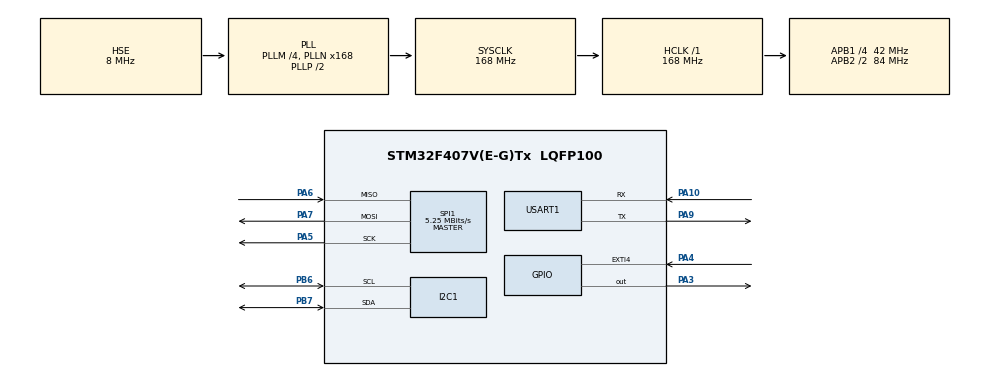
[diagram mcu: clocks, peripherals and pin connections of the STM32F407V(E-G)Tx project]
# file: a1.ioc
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Mcu.Family=STM32F4
Mcu.Name=STM32F407V(E-G)Tx
Mcu.Package=LQFP100
NVIC.PriorityGroup=NVIC_PRIORITYGROUP_4
PA10.Mode=Asynchronous
PA10.Signal=USART1_RX
PA3.Signal=GPIO_Output
PA4.Signal=GPXTI4
PA5.Mode=Full_Duplex_Master
PA5.Signal=SPI1_SCK
PA6.Mode=Full_Duplex_Master
PA6.Signal=SPI1_MISO
PA7.Mode=Full_Duplex_Master
PA7.Signal=SPI1_MOSI
PA9.Mode=Asynchronous
PA9.Signal=USART1_TX
PB6.Mode=I2C
PB6.Signal=I2C1_SCL
PB7.Mode=I2C
PB7.Signal=I2C1_SDA
PH0-OSC_IN.Mode=HSE-External-Oscillator
PH0-OSC_IN.Signal=RCC_OSC_IN
PH1-OSC_OUT.Mode=HSE-External-Oscillator
PH1-OSC_OUT.Signal=RCC_OSC_OUT
ProjectManager.HeapSize=0x200
ProjectManager.StackSize=0x400
ProjectManager.TargetToolchain=MDK-ARM V5.27
RCC.48MHZClocksFreq_Value=84000000
RCC.AHBFreq_Value=168000000
RCC.APB1CLKDivider=RCC_HCLK_DIV4
RCC.APB1Freq_Value=42000000
RCC.APB1TimFreq_Value=84000000
RCC.APB2CLKDivider=RCC_HCLK_DIV2
RCC.APB2Freq_Value=84000000
RCC.APB2TimFreq_Value=168000000
RCC.CortexFreq_Value=168000000
RCC.HCLKFreq_Value=168000000
RCC.HSE_VALUE=8000000
RCC.HSI_VALUE=16000000
RCC.LSE_VALUE=32768
RCC.PLLM=4
RCC.PLLN=168
RCC.PLLSourceVirtual=RCC_PLLSOURCE_HSE
RCC.SYSCLKFreq_VALUE=168000000
RCC.SYSCLKSource=RCC_SYSCLKSOURCE_PLLCLK
RCC.VCOOutputFreq_Value=336000000
SPI1.BaudRatePrescaler=SPI_BAUDRATEPRESCALER_16
SPI1.CalculateBaudRate=5.25 MBits/s
SPI1.Direction=SPI_DIRECTION_2LINES
SPI1.Mode=SPI_MODE_MASTER
SPI1.VirtualType=VM_MASTER
USART1.VirtualMode=VM_ASYNC
board=custom

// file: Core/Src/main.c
/* USER CODE BEGIN Header */
/**
  ******************************************************************************
  * @file           : main.c
  * @brief          : Main program body
  ******************************************************************************
  * @attention
  *
  * <h2><center>&copy; Copyright (c) 2021 STMicroelectronics.
  * All rights reserved.</center></h2>
  *
  * This software component is licensed by ST under BSD 3-Clause license,
  * the "License"; You may not use this file except in compliance with the
  * License. You may obtain a copy of the License at:
  *                        opensource.org/licenses/BSD-3-Clause
  *
  ******************************************************************************
  */
/* USER CODE END Header */
#include "main.h"
#include "i2c.h"
#include "spi.h"
#include "usart.h"
#include "gpio.h"

/* USER CODE BEGIN Includes */
#include "CLRC663_Interface.h"
#include <phbalReg.h>
#include <phhalHw.h>
#include <phpalSli15693.h>
#include <phalSli.h>
#include "phalI15693.h"
#include "phalSli.h"
#include <RegCtl_SpiHw.h>
#include "phkeyStore.h"
#include "phalI15693_Sw.h"
#include "stdio.h"
#include "aes.h"
/* USER CODE END Includes */

/* USER CODE BEGIN PD */
typedef uint8_t  u8;

#define  CHECK_SUCCESS(status)   {223;}//if ((status) != PH_ERR_SUCCESS) {printf("fuck\n");}else{printf("wu\n");}}

/* USER CODE END PD */

void SystemClock_Config(void);

/* USER CODE BEGIN 0 */

u8  UID_Table[8];

u8  len;
phhalHw_Rc663_DataParams_t      halReader;
phpalSli15693_Sw_DataParams_t   palSli;
phalI15693_Sw_DataParams_t      al15693;

	//通用变量
	uint8_t bIndex;
	phStatus_t status;
  uint8_t bHalBufferReader[256];

	//PAL层使用变量
	uint8_t  bOption, bFlags, bAfi;
	uint8_t  pMask[PHPAL_SLI15693_UID_LENGTH], bMaskLength;
	uint8_t  bDsfid, pUid[PHPAL_SLI15693_UID_LENGTH];
	uint8_t  bRxLength, bMoreCardsAvaliable;
	uint8_t  bBlockNo;
	uint16_t wNoOfBlocks;
	uint8_t  bUidLength;
	//uint8_t  pData[PHAL_SLI_BLOCK_SIZE * 28];
	uint8_t  pData[PHAL_SLI_BLOCK_SIZE * 1];
	uint16_t wDataLength=12;

	phbalReg_Stub_DataParams_t balReader;
	phKeyStore_Rc663_DataParams_t Rc663keyStore;

  //AL层使用的变量
	uint8_t pOriginalData[PHAL_SLI_BLOCK_SIZE];
	uint8_t ** ppData = (uint8_t**)&pData;

//u8 Key_Num;

	uint8_t Write_date=38;
	uint8_t Wr_t[12]={37,38,39,35,37,38,39,35,37,38,37,38};

	void *pHal;

int fputc(int ch,FILE *f)
{
    uint8_t temp[1]={ch};
    HAL_UART_Transmit(&huart1,temp,1,2);
		return 0;
}
/* USER CODE END 0 */

int main(void)
{
  /* USER CODE BEGIN 1 */
uint8_t * fuck;
	unsigned short f5;
  /* USER CODE END 1 */

  /* MCU Configuration--------------------------------------------------------*/

  /* Reset of all peripherals, Initializes the Flash interface and the Systick. */
  HAL_Init();

  /* Configure the system clock */
  SystemClock_Config();

  /* Initialize all configured peripherals */
  MX_GPIO_Init();
  MX_SPI1_Init();
  MX_USART1_UART_Init();
  MX_I2C1_Init();
  /* USER CODE BEGIN 2 */
	  u8 ks[16]={4,5,2,5,0,1,1,9,9,7,0,3,2,2,7,4};
		u8 lgh[16]="onedayigotoscho";
   AesKey pkey;
   aes_initKey(&pkey, ks, 16);
		while(1){

			 u8 is[16];
			 u8 os[16];

			 memset(is, 0, sizeof(is));
			 memset(os, 0, sizeof(os));

			 aes_encrypt(&pkey, lgh, os);

			for(int k=0;k<16;k++){
				printf("%X",os[k]);
			}

			printf("\n");

			 aes_decrypt(&pkey, os, is);

				for(int k=0;k<16;k++){
				printf("%c",is[k]);
			}

			printf("\n");
			while(1);
			HAL_Delay(1000);

		}

while(1);

	status=phbalReg_Stub_Init(&balReader, sizeof(phbalReg_Stub_DataParams_t));
	 CHECK_SUCCESS(status)
	HAL_Delay(40);
	status = phhalHw_Rc663_Init(
															&halReader,
															sizeof(phhalHw_Rc663_DataParams_t),
															&balReader,
															NULL,
															bHalBufferReader,
															sizeof(bHalBufferReader),
															bHalBufferReader,
															sizeof(bHalBufferReader));

 CHECK_SUCCESS(status)
	halReader.bBalConnectionType = PHHAL_HW_BAL_CONNECTION_SPI;
	pHal = &halReader;

	status = phpalSli15693_Sw_Init(&palSli, sizeof(palSli), &halReader);
			 CHECK_SUCCESS(status)
		status = phalI15693_Sw_Init(&al15693, sizeof(al15693), &palSli);
			 CHECK_SUCCESS(status)
		bOption = PHPAL_SLI15693_ACTIVATE_ADDRESSED;
	bFlags =  PHPAL_SLI15693_FLAG_NBSLOTS | PHPAL_SLI15693_FLAG_DATA_RATE;
	bAfi = 0xff;
	bMaskLength = 0;
	status = phhalHw_FieldOn(&halReader);
	 CHECK_SUCCESS(status)
 status = phhalHw_ApplyProtocolSettings(&halReader, PHHAL_HW_CARDTYPE_ISO15693);
	 CHECK_SUCCESS(status)
  /* USER CODE END 2 */

  /* Infinite loop */
  /* USER CODE BEGIN WHILE */
  while (1)
  {
		bOption = PHPAL_SLI15693_ACTIVATE_ADDRESSED;
			bFlags =  PHPAL_SLI15693_FLAG_NBSLOTS | PHPAL_SLI15693_FLAG_DATA_RATE;
			bAfi = 0xFF; //设置为0xff，支持所有应用
			bMaskLength = 0;
		  //status = phhalHw_FieldReset(&halReader);     //打开场
		  status = phhalHw_FieldOn(&halReader);
		 CHECK_SUCCESS(status)
		 status = phhalHw_ApplyProtocolSettings(&halReader, PHHAL_HW_CARDTYPE_ISO15693);
		 CHECK_SUCCESS(status)

		  status = phpalSli15693_ActivateCard(&palSli, bOption, bFlags,
                                         bAfi, pMask, bMaskLength,
                                         &bDsfid, pUid, &bMoreCardsAvaliable);
		 CHECK_SUCCESS(status)
			if(PH_ERR_SUCCESS == status)//读卡成功
			{
				HAL_Delay(300);
				//LED1=1;
				status = phpalSli15693_GetSerialNo(&palSli, pUid, &bRxLength);
				//BEEP_TS_Small();
				for(len=0;len<8;len++)
				{
					 UID_Table[len]=pUid[len];   //保存UID
//					printf("%d ",pUid[len]);
				}
				printf("\n");
				if(bRxLength == PHPAL_SLI15693_UID_LENGTH)
				{
						memcpy(pMask, pUid, PHPAL_SLI15693_UID_LENGTH);
						bMaskLength = PHPAL_SLI15693_UID_LENGTH * 8;
				}
				bFlags = 0x32;
				bAfi = 0x00;
				//bBlockNo = 0;
				wNoOfBlocks = 1;
				bOption = PHAL_I15693_OPTION_DEFAULT;//设置为默认，即选项位清除
				//bBlockNo = 0x7f;   //块号，即读取地址
				bBlockNo = 0x10;
				Wr_t[0]=30;
				Wr_t[1]=31;
				Wr_t[2]=32;
				Wr_t[3]=33;

				status	=	phalI15693_WriteSingleBlock(&al15693,bOption, bBlockNo,Wr_t, 4);//往单个块里写入数据
					HAL_Delay(200);
				f5=70;
					bBlockNo =0x10;
				for(int k=0;k<256;k++){

						phalI15693_ReadSingleBlock(&al15693,bOption, k,&fuck, &f5);
							HAL_Delay(200);
					if(f5!=0){
						printf("%d\n",k);

					}
				}

						HAL_Delay(200);
//				printf("%d\n",f5);
//				for(int k=0;k<f5;k++){
//					printf("%d hh ",fuck[k]);
//				}
				printf("\n");

				if(PH_ERR_SUCCESS == status)//读取成功
				{
					HAL_Delay(20);
				}

      }
						HAL_Delay(200);
    /* USER CODE END WHILE */

  }
}

void SystemClock_Config(void)
{
  RCC_OscInitTypeDef RCC_OscInitStruct = {0};
  RCC_ClkInitTypeDef RCC_ClkInitStruct = {0};

  /** Configure the main internal regulator output voltage
  */
  __HAL_RCC_PWR_CLK_ENABLE();
  __HAL_PWR_VOLTAGESCALING_CONFIG(PWR_REGULATOR_VOLTAGE_SCALE1);
  /** Initializes the RCC Oscillators according to the specified parameters
  * in the RCC_OscInitTypeDef structure.
  */
  RCC_OscInitStruct.OscillatorType = RCC_OSCILLATORTYPE_HSE;
  RCC_OscInitStruct.HSEState = RCC_HSE_ON;
  RCC_OscInitStruct.PLL.PLLState = RCC_PLL_ON;
  RCC_OscInitStruct.PLL.PLLSource = RCC_PLLSOURCE_HSE;
  RCC_OscInitStruct.PLL.PLLM = 4;
  RCC_OscInitStruct.PLL.PLLN = 168;
  RCC_OscInitStruct.PLL.PLLP = RCC_PLLP_DIV2;
  RCC_OscInitStruct.PLL.PLLQ = 4;
  if (HAL_RCC_OscConfig(&RCC_OscInitStruct) != HAL_OK)
  {
    Error_Handler();
  }
  /** Initializes the CPU, AHB and APB buses clocks
  */
  RCC_ClkInitStruct.ClockType = RCC_CLOCKTYPE_HCLK|RCC_CLOCKTYPE_SYSCLK
                              |RCC_CLOCKTYPE_PCLK1|RCC_CLOCKTYPE_PCLK2;
  RCC_ClkInitStruct.SYSCLKSource = RCC_SYSCLKSOURCE_PLLCLK;
  RCC_ClkInitStruct.AHBCLKDivider = RCC_SYSCLK_DIV1;
  RCC_ClkInitStruct.APB1CLKDivider = RCC_HCLK_DIV4;
  RCC_ClkInitStruct.APB2CLKDivider = RCC_HCLK_DIV2;

  if (HAL_RCC_ClockConfig(&RCC_ClkInitStruct, FLASH_LATENCY_5) != HAL_OK)
  {
    Error_Handler();
  }
}

void Error_Handler(void)
{
  __disable_irq();
  while (1)
  {
  }
}

/************************ (C) COPYRIGHT STMicroelectronics *****END OF FILE****/
